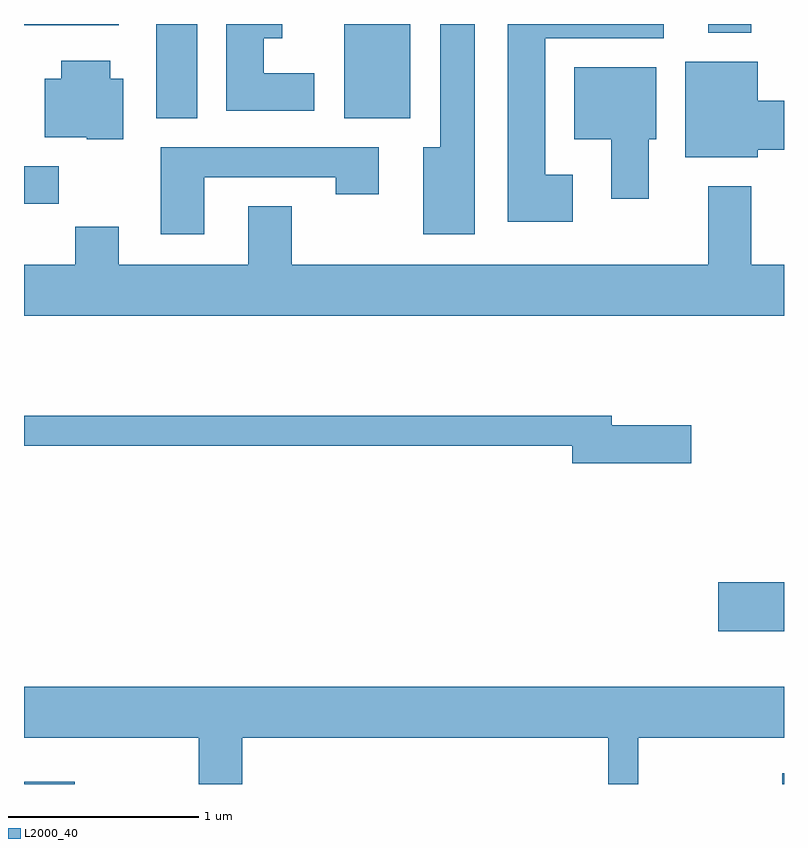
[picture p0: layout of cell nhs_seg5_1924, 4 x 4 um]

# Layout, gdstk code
import gdstk
lib = gdstk.Library(unit=1e-6, precision=1e-09)
def R(c, l, rs):  # rectangles x0, y0, x1, y1
    for r in rs: c.add(gdstk.rectangle(r[:2], r[2:], *l))
def P(c, l, *ps):  # polygons
    for p in ps: c.add(gdstk.Polygon(p, *l))
L2000_40 = (2000, 40)

nhs_seg5_1924 = lib.new_cell('nhs_seg5_1924')
R(nhs_seg5_1924, L2000_40, [(241.611,1492.072,241.878,1492.084), (245.601,1492.072,245.611,1492.128), (245.266,1492.876,245.611,1493.134), (241.611,1495.126,241.794,1495.324), (242.306,1495.576,242.524,1496.072), (243.296,1495.576,243.644,1496.072), (245.211,1496.026,245.439,1496.072), (241.611,1496.066,242.109,1496.072)])
P(nhs_seg5_1924, L2000_40, [(243.139,1495.814),(242.874,1495.814),(242.874,1495.996),(242.969,1495.996),(242.969,1496.072),(242.676,1496.072),(242.676,1495.616),(243.139,1495.616)],
  [(243.984,1496.072),(243.801,1496.072),(243.801,1495.424),(243.711,1495.424),(243.711,1494.966),(243.984,1494.966)],
  [(244.499,1495.279),(244.354,1495.279),(244.354,1495.996),(244.979,1495.996),(244.979,1496.072),(244.156,1496.072),(244.156,1495.031),(244.499,1495.031)],
  [(242.134,1495.784),(242.064,1495.784),(242.064,1495.879),(241.806,1495.879),(241.806,1495.784),(241.721,1495.784),(241.721,1495.476),(241.94,1495.476),(241.94,1495.466),(242.134,1495.466)],
  [(245.474,1495.411),(245.611,1495.411),(245.611,1495.669),(245.474,1495.669),(245.474,1495.874),(245.091,1495.874),(245.091,1495.371),(245.474,1495.371)],
  [(244.899,1495.466),(244.939,1495.466),(244.939,1495.844),(244.506,1495.844),(244.506,1495.466),(244.701,1495.466),(244.701,1495.151),(244.899,1495.151)],
  [(242.559,1495.266),(243.251,1495.266),(243.251,1495.176),(243.479,1495.176),(243.479,1495.424),(242.331,1495.424),(242.331,1494.966),(242.559,1494.966)],
  [(245.611,1494.804),(245.439,1494.804),(245.439,1495.219),(245.211,1495.219),(245.211,1494.804),(243.019,1494.804),(243.019,1495.114),(242.791,1495.114),(242.791,1494.804),(242.109,1494.804),(242.109,1495.004),(241.881,1495.004),(241.881,1494.804),(241.611,1494.804),(241.611,1494.536),(245.611,1494.536)],
  [(245.124,1493.959),(244.704,1493.959),(244.704,1494.009),(241.611,1494.009),(241.611,1493.851),(244.496,1493.851),(244.496,1493.761),(245.124,1493.761)],
  [(242.759,1492.316),(244.686,1492.316),(244.686,1492.072),(244.844,1492.072),(244.844,1492.316),(245.611,1492.316),(245.611,1492.584),(241.611,1492.584),(241.611,1492.316),(242.531,1492.316),(242.531,1492.072),(242.759,1492.072)])

lib.write_gds('nhs_seg5_1924.gds')
